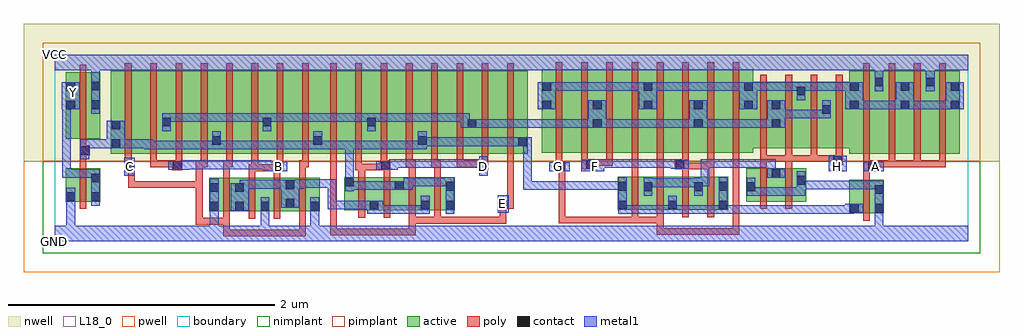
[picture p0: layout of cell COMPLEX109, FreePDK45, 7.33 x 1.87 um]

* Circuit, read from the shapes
.subckt COMPLEX109 A B C D E F G GND H VCC Y
M1 Y n1 GND VSUBS nfet w=0.25u l=0.05u
M2 n2 C GND VSUBS nfet w=0.25u l=0.05u m=2
M3 GND B n2 VSUBS nfet w=0.25u l=0.05u m=2
M4 n2 D n1 VSUBS nfet w=0.25u l=0.05u m=2
M5 n2 E n1 VSUBS nfet w=0.25u l=0.05u m=2
M6 n3 G n1 VSUBS nfet w=0.25u l=0.05u m=2
M7 n3 F n1 VSUBS nfet w=0.25u l=0.05u m=2
M8 n3 H GND VSUBS nfet w=0.25u l=0.05u m=2
M9 GND A n1 VSUBS nfet w=0.25u l=0.05u
M10 VCC n1 Y n4 pfet w=0.5u l=0.05u
M11 n5 C n1 n4 pfet w=0.625u l=0.05u
M12 n6 B n5 n4 pfet w=0.625u l=0.05u
M13 n7 B n6 n4 pfet w=0.625u l=0.05u
M14 n1 C n7 n4 pfet w=0.625u l=0.05u
M15 n8 C n1 n4 pfet w=0.625u l=0.05u
M16 n6 B n8 n4 pfet w=0.625u l=0.05u
M17 n9 B n6 n4 pfet w=0.625u l=0.05u
M18 n1 C n9 n4 pfet w=0.625u l=0.05u
M19 n10 E n1 n4 pfet w=0.625u l=0.05u
M20 n6 D n10 n4 pfet w=0.625u l=0.05u
M21 n11 D n6 n4 pfet w=0.625u l=0.05u
M22 n1 E n11 n4 pfet w=0.625u l=0.05u
M23 n12 E n1 n4 pfet w=0.625u l=0.05u
M24 n6 D n12 n4 pfet w=0.625u l=0.05u
M25 n13 D n6 n4 pfet w=0.625u l=0.05u
M26 n1 E n13 n4 pfet w=0.625u l=0.05u
M27 n14 G n15 n4 pfet w=0.625u l=0.05u
M28 n6 F n14 n4 pfet w=0.625u l=0.05u
M29 n16 F n6 n4 pfet w=0.625u l=0.05u
M30 n15 G n16 n4 pfet w=0.625u l=0.05u
M31 n17 G n15 n4 pfet w=0.625u l=0.05u
M32 n6 F n17 n4 pfet w=0.625u l=0.05u
M33 n18 F n6 n4 pfet w=0.625u l=0.05u
M34 n15 G n18 n4 pfet w=0.625u l=0.05u
M35 n6 H n15 n4 pfet w=0.5u l=0.05u m=4
M36 VCC A n15 n4 pfet w=0.625u l=0.05u m=4
.ends

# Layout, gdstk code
import gdstk
lib = gdstk.Library(unit=1e-6, precision=1e-09)
def R(c, l, rs):  # rectangles x0, y0, x1, y1
    for r in rs: c.add(gdstk.rectangle(r[:2], r[2:], *l))
def A(c, l, x, y, w, h, nx, ny, dx, dy):  # array of equal rectangles
    R(c, l, [(x+i*dx, y+j*dy, x+i*dx+w, y+j*dy+h) for i in range(nx) for j in range(ny)])
active = (1, 0)
pwell = (2, 0)
nwell = (3, 0)
nimplant = (4, 0)
pimplant = (5, 0)
poly = (9, 0)
contact = (10, 0)
metal1 = (11, 0)
L18_0 = (18, 0)
boundary = (235, 0)

complex109 = lib.new_cell('COMPLEX109')
A(complex109, active, 1.16, 0.225, 0.265, 0.25, 3, 1, 0.19, 0)
A(complex109, active, 1.027, 0.657, 0.225, 0.625, 3, 1, 0.38, 0)
A(complex109, active, 3.657, 0.665, 0.225, 0.625, 3, 1, 0.38, 0)
R(complex109, active, [(5.967,0.21,6.042,0.46), (5.967,0.21,6.227,0.46), (6.152,0.21,6.227,0.46), (1.16,0.225,1.235,0.475), (1.35,0.225,1.425,0.44), (1.54,0.225,1.615,0.467), (1.73,0.225,1.99,0.475), (1.73,0.225,1.805,0.462), (1.915,0.225,1.99,0.475), (2.175,0.232,2.435,0.482), (2.36,0.232,2.625,0.482), (2.36,0.232,2.435,0.467), (2.55,0.232,2.82,0.482), (2.745,0.232,3.005,0.482), (2.745,0.232,2.82,0.387), (2.93,0.232,3.005,0.482), (4.227,0.235,4.302,0.485), (4.227,0.235,4.492,0.485), (4.417,0.235,4.677,0.485), (4.602,0.235,4.677,0.405), (4.602,0.235,4.872,0.485), (4.797,0.235,5.057,0.485), (4.982,0.235,5.057,0.485), (0.082,0.297,0.157,0.547), (0.082,0.297,0.342,0.547), (0.267,0.297,0.342,0.547), (2.175,0.297,2.25,0.482), (2.55,0.297,2.625,0.455), (4.417,0.297,4.492,0.447), (4.797,0.297,4.872,0.467), (5.192,0.297,5.267,0.547), (5.192,0.297,5.455,0.547), (5.38,0.297,5.455,0.547), (5.38,0.297,5.642,0.547), (5.567,0.297,5.642,0.547), (0.422,0.657,0.647,1.282), (0.422,0.657,0.527,1.2), (0.647,0.657,0.877,1.282), (0.802,0.657,1.027,1.282), (1.177,0.657,1.407,1.282), (1.557,0.657,1.787,1.282), (1.937,0.657,2.012,1.07), (1.937,0.657,2.187,1.282), (2.187,0.657,2.417,1.282), (2.342,0.657,2.567,1.282), (2.567,0.657,2.797,1.282), (2.722,0.657,2.947,1.282), (2.722,0.657,2.797,1.07), (2.947,0.657,3.172,1.282), (3.097,0.657,3.327,1.282), (3.327,0.657,3.552,1.282), (3.477,0.657,3.552,0.94), (5.967,0.657,6.227,1.282), (6.152,0.657,6.422,1.282), (6.347,0.657,6.612,1.282), (6.537,0.657,6.797,1.282), (6.722,0.657,6.797,1.2), (3.882,0.665,4.112,1.29), (4.262,0.665,4.492,1.29), (4.642,0.665,4.87,1.29), (4.795,0.665,5.022,1.29), (5.022,0.665,5.247,1.29), (0.802,0.682,0.877,1.2), (1.177,0.682,1.252,1.07), (1.557,0.682,1.632,1.2), (2.342,0.682,2.417,1.2), (3.097,0.682,3.172,1.2), (3.657,0.682,3.762,1.2), (4.037,0.682,4.112,1.07), (4.417,0.682,4.492,1.2), (4.795,0.682,4.87,1.07), (6.152,0.682,6.227,1.282), (6.347,0.682,6.422,1.2), (6.537,0.682,6.612,1.282), (5.172,0.697,5.455,1.197), (5.38,0.697,5.455,1.07), (5.38,0.697,5.642,1.197), (5.567,0.697,5.832,1.197), (5.567,0.697,5.642,1.185), (5.757,0.697,6.042,1.197), (5.757,0.697,5.832,1.07), (5.967,0.697,6.042,1.2), (5.172,0.72,5.247,1.2), (0.082,0.77,0.342,1.27), (0.082,0.77,0.157,1.2), (0.267,0.77,0.342,1.202)])
R(complex109, pwell, [(-0.235,-0.235,7.095,0.602)])
R(complex109, nwell, [(-0.235,0.602,7.095,1.635)])
R(complex109, nimplant, [(-0.09,-0.09,6.95,0.602)])
R(complex109, pimplant, [(-0.09,0.602,6.95,1.49)])
A(complex109, poly, 1.265, 0.17, 0.05, 0.36, 4, 1, 0.19, 0)
A(complex109, poly, 2.28, 0.177, 0.05, 0.36, 4, 1, 0.19, 0)
A(complex109, poly, 4.332, 0.18, 0.05, 0.36, 4, 1, 0.19, 0)
A(complex109, poly, 0.717, 0.557, 0.05, 0.095, 4, 1, 0.19, 0)
A(complex109, poly, 2.447, 0.557, 0.05, 0.095, 5, 1, 0.19, 0)
A(complex109, poly, 6.072, 0.557, 0.05, 0.095, 4, 1, 0.19, 0)
A(complex109, poly, 3.952, 0.565, 0.05, 0.095, 5, 1, 0.19, 0)
A(complex109, poly, 4.142, 0.565, 0.05, 0.05, 3, 1, 0.19, 0)
A(complex109, poly, 5.297, 0.597, 0.05, 0.095, 4, 1, 0.19, 0)
A(complex109, poly, 0.527, 0.602, 0.05, 0.735, 8, 1, 0.19, 0)
A(complex109, poly, 2.067, 0.602, 0.05, 0.735, 8, 1, 0.19, 0)
A(complex109, poly, 6.072, 0.602, 0.05, 0.735, 4, 1, 0.19, 0)
A(complex109, poly, 3.762, 0.61, 0.05, 0.735, 8, 1, 0.19, 0)
A(complex109, poly, 5.297, 0.642, 0.05, 0.61, 4, 1, 0.19, 0)
R(complex109, poly, [(1.265,0.037,1.315,0.175), (1.265,0.037,1.56,0.087), (1.51,0.037,1.56,0.087), (1.51,0.037,1.56,0.087), (1.51,0.037,1.56,0.087), (1.51,0.037,1.752,0.087), (1.702,0.037,1.752,0.087), (1.702,0.037,1.752,0.087), (1.702,0.037,1.752,0.087), (1.702,0.037,1.885,0.087), (1.835,0.037,1.885,0.087), (1.835,0.037,1.885,0.087), (1.835,0.037,1.885,0.087), (1.835,0.037,1.885,0.22), (2.067,0.045,2.117,0.095), (2.067,0.045,2.117,0.095), (2.067,0.045,2.117,0.095), (2.067,0.045,2.117,0.095), (2.067,0.045,2.117,0.095), (2.067,0.045,2.117,0.095), (2.067,0.045,2.117,0.095), (2.067,0.045,2.117,0.095), (2.067,0.045,2.117,0.095), (2.067,0.045,2.25,0.095), (2.067,0.045,2.117,0.652), (2.2,0.045,2.25,0.095), (2.2,0.045,2.25,0.095), (2.2,0.045,2.25,0.095), (2.2,0.045,2.555,0.095), (2.505,0.045,2.555,0.095), (2.505,0.045,2.555,0.095), (2.505,0.045,2.555,0.095), (2.505,0.045,2.71,0.095), (2.66,0.045,2.71,0.182), (4.522,0.047,4.762,0.097), (4.522,0.047,4.572,0.185), (4.712,0.047,4.762,0.097), (4.712,0.047,4.762,0.097), (4.712,0.047,4.762,0.097), (4.712,0.047,4.895,0.097), (4.845,0.047,4.895,0.097), (4.845,0.047,4.895,0.097), (4.845,0.047,4.895,0.097), (4.845,0.047,5.142,0.097), (5.092,0.047,5.142,0.097), (5.092,0.047,5.142,0.097), (5.092,0.047,5.142,0.097), (5.092,0.047,5.142,0.097), (5.092,0.047,5.142,0.097), (5.092,0.047,5.142,0.097), (5.092,0.047,5.142,0.097), (5.092,0.047,5.142,0.097), (5.092,0.047,5.142,0.097), (5.092,0.047,5.142,0.66), (1.06,0.125,1.11,0.175), (1.06,0.125,1.315,0.175), (1.06,0.125,1.11,0.45), (1.265,0.125,1.315,0.22), (1.265,0.125,1.315,0.175), (1.265,0.125,1.315,0.175), (2.66,0.132,2.71,0.227), (2.66,0.132,2.71,0.182), (2.66,0.132,2.71,0.182), (2.66,0.132,2.9,0.182), (2.85,0.132,2.9,0.227), (2.85,0.132,2.9,0.182), (2.85,0.132,2.9,0.182), (2.85,0.132,2.9,0.182), (2.85,0.132,3.032,0.182), (2.982,0.132,3.032,0.182), (2.982,0.132,3.032,0.182), (2.982,0.132,3.032,0.182), (2.982,0.132,3.257,0.182), (3.207,0.132,3.257,0.182), (3.207,0.132,3.39,0.182), (3.34,0.132,3.39,0.182), (3.34,0.132,3.39,0.182), (3.34,0.132,3.39,0.182), (3.34,0.132,3.39,0.182), (3.34,0.132,3.39,0.182), (3.34,0.132,3.39,0.292), (3.785,0.135,3.835,0.185), (3.785,0.135,3.835,0.185), (3.785,0.135,3.835,0.185), (3.785,0.135,3.835,0.185), (3.785,0.135,3.835,0.185), (3.785,0.135,4.06,0.185), (3.785,0.135,3.835,0.572), (4.01,0.135,4.06,0.185), (4.01,0.135,4.06,0.185), (4.01,0.135,4.06,0.185), (4.01,0.135,4.06,0.185), (4.01,0.135,4.06,0.185), (4.01,0.135,4.192,0.185), (4.142,0.135,4.192,0.185), (4.142,0.135,4.382,0.185), (4.332,0.135,4.382,0.23), (4.332,0.135,4.382,0.185), (4.332,0.135,4.382,0.185), (4.332,0.135,4.382,0.185), (4.332,0.135,4.572,0.185), (4.522,0.135,4.572,0.23), (4.522,0.135,4.572,0.185), (4.522,0.135,4.572,0.185), (6.072,0.155,6.122,0.515), (0.187,0.242,0.237,0.602), (3.34,0.242,3.39,0.292), (3.34,0.242,3.39,0.292), (3.34,0.242,3.447,0.317), (5.297,0.242,5.347,0.602), (5.487,0.242,5.537,0.602), (3.397,0.267,3.447,0.652), (0.552,0.4,0.602,0.45), (0.552,0.4,0.602,0.45), (0.552,0.4,0.602,0.45), (0.552,0.4,0.602,0.45), (0.552,0.4,0.602,0.45), (0.552,0.4,0.8,0.45), (0.552,0.4,0.602,0.572), (0.75,0.4,0.8,0.45), (0.75,0.4,0.8,0.45), (0.75,0.4,0.8,0.45), (0.75,0.4,0.932,0.45), (0.882,0.4,0.932,0.45), (0.882,0.4,1.11,0.45), (1.06,0.4,1.11,0.45), (1.06,0.4,1.11,0.45), (1.06,0.4,1.11,0.45), (1.06,0.4,1.11,0.45), (1.06,0.4,1.11,0.45), (1.06,0.4,1.11,0.607), (6.072,0.465,6.122,0.575), (1.265,0.48,1.315,0.607), (1.455,0.48,1.505,0.577), (1.645,0.48,1.695,0.577), (1.835,0.48,1.885,0.607), (2.28,0.487,2.33,0.582), (2.47,0.487,2.52,0.582), (2.66,0.487,2.71,0.607), (2.85,0.487,2.9,0.607), (4.332,0.49,4.382,0.615), (4.522,0.49,4.572,0.615), (4.712,0.49,4.762,0.59), (4.902,0.49,4.952,0.59), (0.527,0.522,0.602,0.597), (3.76,0.522,3.835,0.597), (6.072,0.525,6.18,0.607), (1.455,0.527,1.527,0.577), (1.477,0.527,1.692,0.577), (1.477,0.527,1.527,0.652), (1.642,0.527,1.692,0.577), (1.642,0.527,1.692,0.577), (1.642,0.527,1.717,0.602), (0.882,0.532,0.957,0.607), (2.257,0.532,2.307,0.652), (2.257,0.532,2.33,0.582), (2.28,0.532,2.33,0.582), (2.28,0.532,2.33,0.582), (2.28,0.532,2.495,0.582), (2.445,0.532,2.52,0.607), (3.182,0.532,3.257,0.607), (3.952,0.54,4.06,0.615), (4.657,0.54,4.762,0.615), (4.712,0.54,4.952,0.59), (4.902,0.54,4.952,0.59), (4.902,0.54,4.952,0.59), (4.902,0.54,4.952,0.59), (4.902,0.54,4.952,0.66), (0.527,0.547,0.577,0.652), (3.762,0.547,3.812,0.66), (0.187,0.552,0.237,0.695), (1.667,0.552,1.717,0.652), (5.297,0.552,5.347,0.647), (5.487,0.552,5.537,0.647), (0.717,0.557,0.767,0.607), (0.717,0.557,0.932,0.607), (0.882,0.557,0.932,0.607), (0.882,0.557,0.932,0.607), (1.06,0.557,1.147,0.607), (1.265,0.557,1.337,0.607), (1.835,0.557,1.907,0.607), (1.857,0.557,1.907,0.652), (2.637,0.557,2.71,0.607), (2.827,0.557,2.9,0.607), (3.017,0.557,3.067,0.607), (3.017,0.557,3.232,0.607), (3.182,0.557,3.232,0.607), (3.182,0.557,3.232,0.607), (6.13,0.557,6.18,0.607), (6.13,0.557,6.18,0.607), (6.13,0.557,6.312,0.607), (6.262,0.557,6.312,0.607), (6.262,0.557,6.502,0.607), (6.452,0.557,6.502,0.607), (6.452,0.557,6.502,0.607), (6.452,0.557,6.502,0.607), (6.452,0.557,6.692,0.607), (6.642,0.557,6.692,0.607), (6.642,0.557,6.692,0.607), (6.642,0.557,6.692,0.607), (4.01,0.565,4.06,0.615), (4.01,0.565,4.06,0.615), (4.01,0.565,4.192,0.615), (5.842,0.572,5.917,0.647), (5.297,0.597,5.347,0.647), (5.297,0.597,5.347,0.647), (5.297,0.597,5.347,0.647), (5.297,0.597,5.537,0.647), (5.487,0.597,5.537,0.647), (5.487,0.597,5.537,0.647), (5.487,0.597,5.537,0.647), (5.487,0.597,5.727,0.647), (5.677,0.597,5.727,0.647), (5.677,0.597,5.892,0.647), (5.842,0.597,5.892,0.647), (5.842,0.597,5.892,0.647), (0.187,0.645,0.262,0.72), (0.187,0.67,0.237,0.765), (0.187,0.715,0.237,1.325)])
A(complex109, contact, 1.165, 0.23, 0.065, 0.065, 3, 1, 0.19, 0)
R(complex109, contact, [(5.972,0.215,6.037,0.28), (6.157,0.215,6.222,0.28), (1.92,0.23,1.985,0.295), (2.365,0.24,2.43,0.305), (2.75,0.24,2.815,0.305), (2.935,0.24,3,0.305), (4.232,0.24,4.297,0.305), (4.607,0.24,4.672,0.305), (4.987,0.24,5.052,0.305), (3.345,0.247,3.41,0.312), (1.735,0.252,1.8,0.317), (0.087,0.302,0.152,0.367), (0.272,0.302,0.337,0.367), (6.157,0.355,6.222,0.42), (1.165,0.37,1.23,0.435), (1.355,0.37,1.42,0.435), (4.422,0.377,4.487,0.442), (4.802,0.377,4.867,0.442), (5.197,0.377,5.262,0.442), (2.935,0.38,3,0.445), (4.232,0.38,4.297,0.445), (4.987,0.38,5.052,0.445), (2.555,0.385,2.62,0.45), (1.735,0.392,1.8,0.457), (2.18,0.412,2.245,0.477), (5.572,0.425,5.637,0.49), (0.272,0.442,0.337,0.507), (5.385,0.477,5.45,0.542), (0.532,0.527,0.597,0.592), (3.765,0.527,3.83,0.592), (6.11,0.53,6.175,0.595), (1.647,0.532,1.712,0.597), (0.887,0.537,0.952,0.602), (2.45,0.537,2.515,0.602), (3.187,0.537,3.252,0.602), (3.99,0.545,4.055,0.61), (4.662,0.545,4.727,0.61), (5.847,0.577,5.912,0.642), (0.192,0.65,0.257,0.715), (0.427,0.7,0.492,0.765), (3.482,0.715,3.547,0.78), (1.182,0.725,1.247,0.79), (1.942,0.725,2.007,0.79), (2.727,0.725,2.792,0.79), (0.427,0.84,0.492,0.905), (3.102,0.852,3.167,0.917), (4.042,0.852,4.107,0.917), (4.8,0.852,4.865,0.917), (5.385,0.852,5.45,0.917), (0.807,0.862,0.872,0.927), (1.562,0.862,1.627,0.927), (2.347,0.862,2.412,0.927), (5.762,0.957,5.827,1.022), (0.087,0.99,0.152,1.055), (3.662,0.99,3.727,1.055), (4.422,0.99,4.487,1.055), (5.177,0.99,5.242,1.055), (5.972,0.99,6.037,1.055), (6.352,0.99,6.417,1.055), (6.727,0.99,6.792,1.055), (0.272,0.992,0.337,1.057), (4.042,0.992,4.107,1.057), (4.8,0.992,4.865,1.057), (5.385,0.992,5.45,1.057), (5.572,1.095,5.637,1.16), (0.087,1.13,0.152,1.195), (3.662,1.13,3.727,1.195), (4.422,1.13,4.487,1.195), (5.177,1.13,5.242,1.195), (5.972,1.13,6.037,1.195), (6.352,1.13,6.417,1.195), (6.727,1.13,6.792,1.195), (0.272,1.132,0.337,1.197), (6.157,1.162,6.222,1.227), (6.542,1.162,6.607,1.227)])
R(complex109, metal1, [(0,0,6.86,0.115), (0.087,0.05,0.152,0.115), (0.087,0.05,0.152,0.115), (0.087,0.05,0.152,0.115), (0.087,0.05,0.152,0.115), (0.087,0.05,0.152,0.332), (1.165,0.05,1.23,0.115), (1.165,0.05,1.23,0.115), (1.165,0.05,1.23,0.115), (1.165,0.05,1.23,0.115), (1.165,0.05,1.23,0.26), (1.545,0.05,1.61,0.115), (1.545,0.05,1.61,0.115), (1.545,0.05,1.61,0.115), (1.545,0.05,1.61,0.115), (1.545,0.05,1.61,0.26), (1.92,0.05,1.985,0.115), (1.92,0.05,1.985,0.115), (1.92,0.05,1.985,0.115), (1.92,0.05,1.985,0.115), (1.92,0.05,1.985,0.26), (6.157,0.05,6.222,0.245), (6.157,0.18,6.222,0.245), (6.157,0.18,6.222,0.245), (6.157,0.18,6.222,0.245), (6.157,0.18,6.222,0.245), (6.157,0.18,6.222,0.455), (1.165,0.195,1.23,0.47), (1.545,0.195,1.61,0.33), (1.92,0.195,1.985,0.33), (2.347,0.205,2.412,0.27), (2.347,0.205,2.55,0.27), (2.347,0.205,2.412,0.305), (2.485,0.205,2.55,0.27), (2.485,0.205,2.602,0.27), (2.537,0.205,2.602,0.27), (2.537,0.205,2.815,0.27), (2.75,0.205,2.815,0.27), (2.75,0.205,2.815,0.27), (2.75,0.205,2.815,0.27), (2.75,0.205,2.815,0.27), (2.75,0.205,2.815,0.34), (2.935,0.205,3,0.48), (4.232,0.205,4.297,0.48), (4.232,0.205,4.417,0.27), (4.352,0.205,4.417,0.27), (4.352,0.205,4.435,0.27), (4.37,0.205,4.435,0.27), (4.37,0.205,4.555,0.27), (4.49,0.205,4.555,0.27), (4.49,0.205,4.672,0.27), (4.607,0.205,4.672,0.34), (4.607,0.205,4.777,0.27), (4.712,0.205,4.777,0.27), (4.712,0.205,4.83,0.27), (4.765,0.205,4.83,0.27), (4.765,0.205,4.932,0.27), (4.867,0.205,4.932,0.27), (4.867,0.205,5.052,0.27), (4.987,0.205,5.052,0.27), (4.987,0.205,5.052,0.27), (4.987,0.205,5.052,0.48), (4.987,0.205,5.125,0.27), (5.06,0.205,5.125,0.27), (5.06,0.205,5.277,0.27), (5.212,0.205,5.277,0.27), (5.212,0.205,5.277,0.27), (5.212,0.205,5.277,0.27), (5.212,0.205,5.5,0.27), (5.435,0.205,5.5,0.27), (5.435,0.205,5.552,0.27), (5.487,0.205,5.552,0.27), (5.487,0.205,5.637,0.27), (5.572,0.205,5.637,0.27), (5.572,0.205,5.727,0.27), (5.662,0.205,5.727,0.27), (5.662,0.205,5.865,0.27), (5.8,0.205,5.865,0.27), (5.8,0.205,6.002,0.27), (5.937,0.205,6.002,0.27), (5.937,0.205,6.002,0.27), (5.937,0.205,6.002,0.27), (5.937,0.205,6.002,0.28), (3.327,0.212,3.41,0.347), (5.937,0.215,6.072,0.28), (1.32,0.23,1.455,0.435), (2.05,0.24,2.115,0.305), (2.05,0.24,2.252,0.305), (2.05,0.24,2.115,0.467), (2.187,0.24,2.252,0.305), (2.187,0.24,2.252,0.305), (2.187,0.24,2.252,0.305), (2.187,0.24,2.395,0.305), (2.33,0.24,2.465,0.305), (1.7,0.252,1.835,0.46), (0.087,0.267,0.152,0.402), (0.272,0.267,0.337,0.542), (4.422,0.342,4.487,0.477), (4.802,0.342,4.867,0.477), (5.197,0.342,5.262,0.407), (5.197,0.342,5.262,0.407), (5.197,0.342,5.262,0.477), (5.197,0.342,5.5,0.407), (5.435,0.342,5.5,0.407), (5.435,0.342,5.587,0.407), (5.522,0.342,5.587,0.407), (5.522,0.342,5.637,0.407), (5.572,0.342,5.637,0.407), (5.572,0.342,5.637,0.455), (1.39,0.37,1.455,0.435), (1.39,0.37,1.455,0.46), (2.18,0.377,2.245,0.512), (2.18,0.385,2.252,0.45), (2.187,0.385,2.252,0.45), (2.187,0.385,2.412,0.45), (2.347,0.385,2.412,0.45), (2.347,0.385,2.412,0.45), (2.347,0.385,2.412,0.45), (2.347,0.385,2.585,0.45), (2.52,0.385,2.655,0.45), (2.59,0.385,2.687,0.45), (2.622,0.385,2.687,0.477), (3.517,0.387,3.582,0.452), (3.517,0.387,3.797,0.452), (3.517,0.387,3.582,0.78), (3.732,0.387,3.797,0.452), (3.732,0.387,3.797,0.452), (3.732,0.387,3.797,0.452), (3.732,0.387,3.935,0.452), (3.87,0.387,3.935,0.452), (3.87,0.387,3.935,0.452), (3.87,0.387,3.935,0.452), (3.87,0.387,4.072,0.452), (4.007,0.387,4.072,0.452), (4.007,0.387,4.265,0.452), (4.2,0.387,4.265,0.452), (4.2,0.387,4.297,0.452), (5.572,0.39,5.637,0.525), (5.572,0.39,5.74,0.455), (5.675,0.39,5.74,0.455), (5.675,0.39,5.865,0.455), (5.8,0.39,5.865,0.455), (5.8,0.39,6.002,0.455), (5.937,0.39,6.002,0.455), (5.937,0.39,6.002,0.455), (5.937,0.39,6.002,0.455), (5.937,0.39,6.222,0.455), (6.157,0.39,6.222,0.455), (6.157,0.39,6.222,0.455), (6.157,0.39,6.222,0.455), (6.157,0.39,6.222,0.455), (1.39,0.395,1.627,0.46), (1.562,0.395,1.627,0.46), (1.562,0.395,1.71,0.46), (1.645,0.395,1.71,0.46), (1.645,0.395,1.765,0.46), (1.77,0.395,1.87,0.46), (1.805,0.395,1.87,0.467), (1.805,0.402,2.107,0.467), (2.042,0.402,2.107,0.467), (2.042,0.402,2.107,0.467), (2.042,0.402,2.115,0.467), (4.422,0.407,4.555,0.472), (4.49,0.407,4.555,0.472), (4.49,0.407,4.692,0.472), (4.627,0.407,4.692,0.472), (4.627,0.407,4.777,0.472), (4.712,0.407,4.777,0.472), (4.712,0.407,4.867,0.472), (2.622,0.412,2.84,0.477), (2.775,0.412,2.84,0.477), (2.775,0.412,2.952,0.477), (2.887,0.412,2.952,0.477), (2.887,0.412,3,0.477), (4.802,0.412,4.915,0.477), (4.85,0.412,4.915,0.617), (2.18,0.447,2.245,0.755), (0.055,0.477,0.12,0.542), (0.055,0.477,0.12,0.542), (0.055,0.477,0.12,0.542), (0.055,0.477,0.12,0.542), (0.055,0.477,0.12,0.542), (0.055,0.477,0.337,0.542), (0.055,0.477,0.12,1.055), (5.35,0.477,5.485,0.545), (5.35,0.48,5.415,0.545), (5.35,0.48,5.415,0.617), (0.522,0.49,0.6,0.627), (3.187,0.492,3.252,0.637), (1.612,0.527,1.747,0.597), (3.712,0.527,3.867,0.592), (3.955,0.527,4.127,0.61), (5.812,0.527,5.947,0.642), (6.075,0.527,6.227,0.595), (1.562,0.532,1.627,0.607), (1.562,0.532,1.677,0.597), (0.852,0.537,0.987,0.602), (0.922,0.537,1.01,0.602), (0.945,0.537,1.01,0.607), (2.415,0.537,2.55,0.602), (2.485,0.537,2.575,0.602), (2.51,0.537,2.575,0.615), (0.945,0.542,1.147,0.607), (1.082,0.542,1.147,0.607), (1.082,0.542,1.147,0.607), (1.082,0.542,1.147,0.607), (1.082,0.542,1.317,0.607), (1.252,0.542,1.317,0.607), (1.252,0.542,1.385,0.607), (1.32,0.542,1.385,0.607), (1.32,0.542,1.49,0.607), (1.425,0.542,1.49,0.607), (1.425,0.542,1.627,0.607), (4.062,0.545,4.127,0.61), (4.062,0.545,4.127,0.617), (4.627,0.545,4.692,0.61), (4.627,0.545,4.762,0.61), (4.627,0.545,4.692,0.615), (2.51,0.55,2.792,0.615), (2.727,0.55,2.792,0.615), (2.727,0.55,2.792,0.615), (2.727,0.55,2.792,0.617), (4.37,0.55,4.555,0.615), (4.37,0.55,4.435,0.617), (4.49,0.55,4.555,0.615), (4.49,0.55,4.692,0.615), (2.727,0.552,2.977,0.617), (2.912,0.552,2.977,0.617), (2.912,0.552,2.977,0.617), (2.912,0.552,2.977,0.617), (2.912,0.552,3.115,0.617), (3.05,0.552,3.115,0.617), (3.05,0.552,3.115,0.617), (3.05,0.552,3.115,0.617), (3.05,0.552,3.252,0.617), (4.062,0.552,4.28,0.617), (4.215,0.552,4.28,0.617), (4.215,0.552,4.28,0.617), (4.215,0.552,4.28,0.617), (4.215,0.552,4.417,0.617), (4.352,0.552,4.417,0.617), (4.352,0.552,4.435,0.617), (4.85,0.552,5.07,0.617), (5.005,0.552,5.07,0.617), (5.005,0.552,5.07,0.617), (5.005,0.552,5.07,0.617), (5.005,0.552,5.277,0.617), (5.212,0.552,5.277,0.617), (5.212,0.552,5.415,0.617), (0.192,0.615,0.257,0.75), (0.192,0.685,0.257,0.75), (0.192,0.685,0.257,0.75), (0.192,0.685,0.257,0.765), (0.67,0.69,0.735,0.755), (0.67,0.69,0.735,0.755), (0.67,0.69,0.735,0.765), (0.67,0.69,0.872,0.755), (0.807,0.69,0.872,0.755), (0.807,0.69,0.872,0.755), (0.807,0.69,0.872,0.755), (0.807,0.69,1.01,0.755), (0.945,0.69,1.01,0.755), (0.945,0.69,1.147,0.755), (1.082,0.69,1.147,0.755), (1.082,0.69,1.247,0.755), (1.182,0.69,1.247,0.825), (1.182,0.69,1.285,0.755), (1.22,0.69,1.285,0.755), (1.22,0.69,1.472,0.755), (1.407,0.69,1.472,0.755), (1.407,0.69,1.472,0.755), (1.407,0.69,1.472,0.755), (1.407,0.69,1.627,0.755), (1.562,0.69,1.627,0.755), (1.562,0.69,1.627,0.755), (1.562,0.69,1.627,0.755), (1.562,0.69,1.847,0.755), (1.782,0.69,1.847,0.755), (1.782,0.69,1.847,0.755), (1.782,0.69,1.847,0.755), (1.782,0.69,2.007,0.755), (1.942,0.69,2.007,0.755), (1.942,0.69,2.007,0.755), (1.942,0.69,2.007,0.825), (1.942,0.69,2.245,0.755), (2.18,0.69,2.245,0.755), (2.18,0.69,2.245,0.755), (2.18,0.69,2.245,0.755), (2.18,0.69,2.245,0.755), (2.18,0.69,2.252,0.755), (2.187,0.69,2.252,0.755), (2.187,0.69,2.252,0.755), (2.187,0.69,2.395,0.755), (2.33,0.69,2.395,0.755), (2.33,0.69,2.395,0.755), (2.33,0.69,2.395,0.755), (2.33,0.69,2.55,0.755), (2.485,0.69,2.55,0.755), (2.485,0.69,2.792,0.755), (2.727,0.69,2.792,0.755), (2.727,0.69,2.792,0.755), (2.727,0.69,2.792,0.825), (0.192,0.7,0.257,0.765), (0.192,0.7,0.457,0.765), (0.392,0.7,0.527,0.905), (0.462,0.7,0.527,0.765), (0.462,0.7,0.527,0.765), (0.462,0.7,0.735,0.765), (2.727,0.715,2.977,0.78), (2.912,0.715,2.977,0.78), (2.912,0.715,2.977,0.78), (2.912,0.715,2.977,0.78), (2.912,0.715,3.115,0.78), (3.05,0.715,3.115,0.78), (3.05,0.715,3.115,0.78), (3.05,0.715,3.115,0.78), (3.05,0.715,3.252,0.78), (3.187,0.715,3.252,0.78), (3.187,0.715,3.34,0.78), (3.275,0.715,3.34,0.78), (3.275,0.715,3.512,0.78), (3.447,0.715,3.512,0.78), (3.447,0.715,3.512,0.78), (3.447,0.715,3.582,0.78), (3.517,0.715,3.582,0.78), (3.517,0.715,3.582,0.78), (3.517,0.715,3.582,0.78), (3.517,0.715,3.582,0.78), (3.517,0.715,3.582,0.78), (3.517,0.715,3.582,0.78), (0.807,0.827,0.872,0.962), (1.562,0.827,1.627,0.962), (2.347,0.827,2.412,0.962), (3.05,0.852,3.132,0.917), (3.05,0.852,3.115,0.962), (3.067,0.852,3.202,0.917), (3.137,0.852,3.252,0.917), (3.187,0.852,3.252,0.917), (3.187,0.852,3.34,0.917), (3.275,0.852,3.34,0.917), (3.275,0.852,3.477,0.917), (3.412,0.852,3.477,0.917), (3.412,0.852,3.477,0.917), (3.412,0.852,3.477,0.917), (3.412,0.852,3.72,0.917), (3.655,0.852,3.72,0.917), (3.655,0.852,3.72,0.917), (3.655,0.852,3.72,0.917), (3.655,0.852,3.935,0.917), (3.87,0.852,3.935,0.917), (3.87,0.852,3.935,0.917), (3.87,0.852,3.935,0.917), (3.87,0.852,4.072,0.917), (4.007,0.852,4.142,1.057), (4.077,0.852,4.28,0.917), (4.215,0.852,4.28,0.917), (4.215,0.852,4.28,0.917), (4.215,0.852,4.28,0.917), (4.215,0.852,4.417,0.917), (4.352,0.852,4.417,0.917), (4.352,0.852,4.535,0.917), (4.47,0.852,4.535,0.917), (4.47,0.852,4.555,0.917), (4.49,0.852,4.555,0.917), (4.49,0.852,4.692,0.917), (4.627,0.852,4.692,0.917), (4.627,0.852,4.692,0.917), (4.627,0.852,4.692,0.917), (4.627,0.852,4.83,0.917), (4.765,0.852,4.9,1.057), (4.835,0.852,4.932,0.917), (4.867,0.852,4.932,0.917), (4.867,0.852,5.037,0.917), (4.972,0.852,5.037,0.917), (4.972,0.852,5.125,0.917), (5.06,0.852,5.125,0.917), (5.06,0.852,5.262,0.917), (5.197,0.852,5.262,0.917), (5.197,0.852,5.262,0.917), (5.197,0.852,5.262,0.917), (5.197,0.852,5.415,0.917), (5.35,0.852,5.485,1.057), (0.807,0.897,0.872,0.962), (0.807,0.897,0.872,0.962), (0.807,0.897,1.01,0.962), (0.945,0.897,1.01,0.962), (0.945,0.897,1.147,0.962), (1.082,0.897,1.147,0.962), (1.082,0.897,1.147,0.962), (1.082,0.897,1.147,0.962), (1.082,0.897,1.317,0.962), (1.252,0.897,1.317,0.962), (1.252,0.897,1.385,0.962), (1.32,0.897,1.385,0.962), (1.32,0.897,1.49,0.962), (1.425,0.897,1.49,0.962), (1.425,0.897,1.627,0.962), (1.562,0.897,1.627,0.962), (1.562,0.897,1.627,0.962), (1.562,0.897,1.847,0.962), (1.782,0.897,1.847,0.962), (1.782,0.897,1.847,0.962), (1.782,0.897,1.847,0.962), (1.782,0.897,2.107,0.962), (2.042,0.897,2.107,0.962), (2.042,0.897,2.107,0.962), (2.042,0.897,2.107,0.962), (2.042,0.897,2.257,0.962), (2.192,0.897,2.257,0.962), (2.192,0.897,2.257,0.962), (2.192,0.897,2.257,0.962), (2.192,0.897,2.412,0.962), (2.347,0.897,2.55,0.962), (2.485,0.897,2.55,0.962), (2.485,0.897,2.55,0.962), (2.485,0.897,2.55,0.962), (2.485,0.897,2.815,0.962), (2.75,0.897,2.815,0.962), (2.75,0.897,2.815,0.962), (2.75,0.897,2.815,0.962), (2.75,0.897,2.952,0.962), (2.887,0.897,2.952,0.962), (2.887,0.897,2.977,0.962), (2.912,0.897,2.977,0.962), (2.912,0.897,3.115,0.962), (5.42,0.922,5.552,0.987), (5.487,0.922,5.552,0.987), (5.487,0.922,5.69,0.987), (5.625,0.922,5.69,0.987), (5.625,0.922,5.727,0.987), (5.662,0.922,5.727,0.987), (5.662,0.922,5.827,0.987), (5.762,0.922,5.827,1.057), (0.272,0.957,0.337,1.232), (0.052,0.99,0.187,1.195), (0.055,0.99,0.12,1.055), (0.055,0.99,0.12,1.055), (0.055,0.99,0.12,1.055), (0.055,0.99,0.12,1.055), (0.055,0.99,0.12,1.055), (0.055,0.99,0.12,1.055), (3.627,0.99,3.762,1.195), (4.387,0.99,4.522,1.195), (5.142,0.99,5.277,1.195), (5.937,0.99,6.072,1.195), (6.007,0.99,6.21,1.055), (6.145,0.99,6.21,1.055), (6.145,0.99,6.21,1.055), (6.145,0.99,6.21,1.055), (6.145,0.99,6.382,1.055), (6.317,0.99,6.382,1.055), (6.317,0.99,6.382,1.055), (6.317,0.99,6.452,1.195), (6.387,0.99,6.59,1.055), (6.525,0.99,6.59,1.055), (6.525,0.99,6.59,1.055), (6.525,0.99,6.59,1.055), (6.525,0.99,6.757,1.055), (6.692,0.99,6.757,1.055), (6.692,0.99,6.757,1.055), (6.692,0.99,6.827,1.195), (5.572,1.06,5.637,1.195), (6.157,1.127,6.222,1.262), (6.542,1.127,6.607,1.262), (3.697,1.13,3.762,1.195), (3.697,1.13,3.762,1.195), (3.697,1.13,3.935,1.195), (3.87,1.13,3.935,1.195), (3.87,1.13,3.935,1.195), (3.87,1.13,3.935,1.195), (3.87,1.13,4.142,1.195), (4.077,1.13,4.142,1.195), (4.077,1.13,4.28,1.195), (4.215,1.13,4.28,1.195), (4.215,1.13,4.28,1.195), (4.215,1.13,4.28,1.195), (4.215,1.13,4.417,1.195), (4.352,1.13,4.417,1.195), (4.352,1.13,4.452,1.195), (4.457,1.13,4.555,1.195), (4.49,1.13,4.555,1.195), (4.49,1.13,4.692,1.195), (4.627,1.13,4.692,1.195), (4.627,1.13,4.692,1.195), (4.627,1.13,4.692,1.195), (4.627,1.13,4.83,1.195), (4.765,1.13,4.83,1.195), (4.765,1.13,4.915,1.195), (4.85,1.13,4.915,1.195), (4.85,1.13,5.037,1.195), (4.972,1.13,5.037,1.195), (4.972,1.13,5.125,1.195), (5.06,1.13,5.125,1.195), (5.06,1.13,5.207,1.195), (5.212,1.13,5.415,1.195), (5.35,1.13,5.415,1.195), (5.35,1.13,5.415,1.195), (5.35,1.13,5.415,1.195), (5.35,1.13,5.59,1.195), (5.525,1.13,5.59,1.195), (5.525,1.13,5.637,1.195), (5.572,1.13,5.74,1.195), (5.675,1.13,5.74,1.195), (5.675,1.13,5.827,1.195), (5.762,1.13,5.827,1.195), (5.762,1.13,6.002,1.195), (5.937,1.13,6.002,1.195), (5.937,1.13,6.002,1.195), (0.272,1.167,0.337,1.35), (6.157,1.197,6.222,1.35), (6.542,1.197,6.607,1.35), (0,1.285,6.86,1.4), (0.272,1.285,0.337,1.35), (0.272,1.285,0.337,1.35)])
R(complex109, L18_0, [(0,0,6.86,0.115), (0.087,0.05,0.152,0.115), (0.087,0.05,0.152,0.115), (0.087,0.05,0.152,0.115), (0.087,0.05,0.152,0.115), (0.087,0.05,0.152,0.332), (1.165,0.05,1.23,0.115), (1.165,0.05,1.23,0.115), (1.165,0.05,1.23,0.115), (1.165,0.05,1.23,0.115), (1.165,0.05,1.23,0.26), (1.545,0.05,1.61,0.115), (1.545,0.05,1.61,0.115), (1.545,0.05,1.61,0.115), (1.545,0.05,1.61,0.115), (1.545,0.05,1.61,0.26), (1.92,0.05,1.985,0.115), (1.92,0.05,1.985,0.115), (1.92,0.05,1.985,0.115), (1.92,0.05,1.985,0.115), (1.92,0.05,1.985,0.26), (6.157,0.05,6.222,0.245), (6.157,0.18,6.222,0.245), (6.157,0.18,6.222,0.245), (6.157,0.18,6.222,0.245), (6.157,0.18,6.222,0.245), (6.157,0.18,6.222,0.455), (1.165,0.195,1.23,0.47), (1.545,0.195,1.61,0.33), (1.92,0.195,1.985,0.33), (3.327,0.212,3.41,0.347), (3.327,0.247,3.392,0.312), (0.087,0.267,0.152,0.402), (0.272,0.267,0.337,0.542), (5.197,0.342,5.262,0.407), (5.197,0.342,5.262,0.407), (5.197,0.342,5.262,0.477), (5.197,0.342,5.5,0.407), (5.435,0.342,5.5,0.407), (5.435,0.342,5.587,0.407), (5.522,0.342,5.587,0.407), (5.522,0.342,5.637,0.407), (5.572,0.342,5.637,0.407), (5.572,0.342,5.637,0.455), (5.572,0.39,5.637,0.525), (5.572,0.39,5.74,0.455), (5.675,0.39,5.74,0.455), (5.675,0.39,5.865,0.455), (5.8,0.39,5.865,0.455), (5.8,0.39,6.002,0.455), (5.937,0.39,6.002,0.455), (5.937,0.39,6.002,0.455), (5.937,0.39,6.002,0.455), (5.937,0.39,6.222,0.455), (6.157,0.39,6.222,0.455), (6.157,0.39,6.222,0.455), (6.157,0.39,6.222,0.455), (6.157,0.39,6.222,0.455), (0.055,0.477,0.12,0.542), (0.055,0.477,0.12,0.542), (0.055,0.477,0.12,0.542), (0.055,0.477,0.12,0.542), (0.055,0.477,0.12,0.542), (0.055,0.477,0.12,1.055), (0.055,0.477,0.337,0.542), (0.522,0.49,0.6,0.627), (3.187,0.492,3.252,0.637), (0.527,0.527,0.592,0.592), (1.612,0.527,1.747,0.597), (1.647,0.527,1.712,0.592), (3.187,0.527,3.252,0.592), (3.712,0.527,3.867,0.592), (3.747,0.527,3.812,0.592), (3.955,0.527,4.127,0.61), (4.027,0.527,4.092,0.592), (5.812,0.527,5.947,0.642), (5.847,0.527,5.912,0.592), (6.075,0.527,6.227,0.595), (6.127,0.527,6.192,0.592), (1.562,0.532,1.627,0.607), (1.562,0.532,1.677,0.597), (0.852,0.537,0.987,0.602), (0.922,0.537,1.01,0.602), (0.945,0.537,1.01,0.607), (2.415,0.537,2.55,0.602), (2.485,0.537,2.575,0.602), (2.51,0.537,2.575,0.615), (0.945,0.542,1.147,0.607), (1.082,0.542,1.147,0.607), (1.082,0.542,1.147,0.607), (1.082,0.542,1.147,0.607), (1.082,0.542,1.317,0.607), (1.252,0.542,1.317,0.607), (1.252,0.542,1.385,0.607), (1.32,0.542,1.385,0.607), (1.32,0.542,1.49,0.607), (1.425,0.542,1.49,0.607), (1.425,0.542,1.627,0.607), (4.062,0.545,4.127,0.61), (4.062,0.545,4.127,0.617), (4.627,0.545,4.692,0.61), (4.627,0.545,4.762,0.61), (4.627,0.545,4.692,0.615), (2.51,0.55,2.792,0.615), (2.727,0.55,2.792,0.615), (2.727,0.55,2.792,0.615), (2.727,0.55,2.792,0.617), (4.37,0.55,4.435,0.617), (4.37,0.55,4.555,0.615), (4.49,0.55,4.555,0.615), (4.49,0.55,4.692,0.615), (2.727,0.552,2.977,0.617), (2.912,0.552,2.977,0.617), (2.912,0.552,2.977,0.617), (2.912,0.552,2.977,0.617), (2.912,0.552,3.115,0.617), (3.05,0.552,3.115,0.617), (3.05,0.552,3.115,0.617), (3.05,0.552,3.115,0.617), (3.05,0.552,3.252,0.617), (4.062,0.552,4.28,0.617), (4.215,0.552,4.28,0.617), (4.215,0.552,4.28,0.617), (4.215,0.552,4.28,0.617), (4.215,0.552,4.417,0.617), (4.352,0.552,4.417,0.617), (4.352,0.552,4.435,0.617), (0.272,0.957,0.337,1.232), (0.052,0.99,0.187,1.195), (0.055,0.99,0.12,1.055), (0.055,0.99,0.12,1.055), (0.055,0.99,0.12,1.055), (0.055,0.99,0.12,1.055), (0.055,0.99,0.12,1.055), (0.055,0.99,0.12,1.055), (0.107,1.087,0.172,1.152), (6.157,1.127,6.222,1.262), (6.542,1.127,6.607,1.262), (0.272,1.167,0.337,1.35), (6.157,1.197,6.222,1.35), (6.542,1.197,6.607,1.35), (0,1.285,6.86,1.4), (0.272,1.285,0.337,1.35), (0.272,1.285,0.337,1.35)])
R(complex109, boundary, [(0,0,6.86,1.4)])
complex109.add(gdstk.Label('A', (6.16,0.56), layer=11, texttype=0))
complex109.add(gdstk.Label('B', (1.68,0.56), layer=11, texttype=0))
complex109.add(gdstk.Label('C', (0.56,0.56), layer=11, texttype=0))
complex109.add(gdstk.Label('D', (3.22,0.56), layer=11, texttype=0))
complex109.add(gdstk.Label('E', (3.36,0.28), layer=11, texttype=0))
complex109.add(gdstk.Label('F', (4.06,0.56), layer=11, texttype=0))
complex109.add(gdstk.Label('G', (3.78,0.56), layer=11, texttype=0))
complex109.add(gdstk.Label('H', (5.88,0.56), layer=11, texttype=0))
complex109.add(gdstk.Label('Y', (0.14,1.12), layer=11, texttype=0))
complex109.add(gdstk.Label('VCC', (0,1.4), layer=11, texttype=0))
complex109.add(gdstk.Label('GND', (0,0), layer=11, texttype=0))

lib.write_gds('COMPLEX109.gds')
